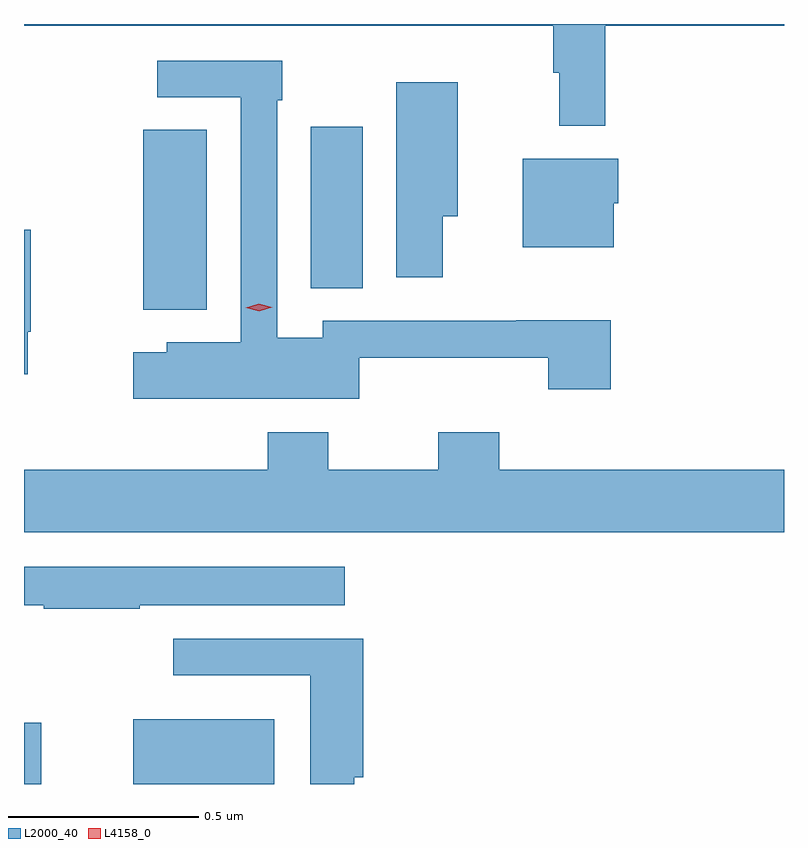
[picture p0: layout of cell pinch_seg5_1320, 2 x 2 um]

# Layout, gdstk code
import gdstk
lib = gdstk.Library(unit=1e-6, precision=1e-09)
def R(c, l, rs):  # rectangles x0, y0, x1, y1
    for r in rs: c.add(gdstk.rectangle(r[:2], r[2:], *l))
def P(c, l, *ps):  # polygons
    for p in ps: c.add(gdstk.Polygon(p, *l))
L2000_40 = (2000, 40)
L4158_0 = (4158, 0)

pinch_seg5_1320 = lib.new_cell('pinch_seg5_1320')
R(pinch_seg5_1320, L2000_40, [(441.438,850.769,441.484,850.93), (441.725,850.769,442.096,850.939), (441.752,852.017,441.919,852.491), (442.193,852.073,442.33,852.499)])
P(pinch_seg5_1320, L2000_40, [(442.967,852.764),(443.438,852.764),(443.438,852.769),(441.438,852.769),(441.438,852.764),(442.831,852.764),(442.831,852.641),(442.846,852.641),(442.846,852.501),(442.967,852.501)],
  [(442.32,851.891),(442.817,851.891),(442.817,851.808),(442.982,851.808),(442.982,851.99),(442.733,851.99),(442.733,851.988),(442.224,851.988),(442.224,851.944),(442.104,851.944),(442.104,852.569),(442.117,852.569),(442.117,852.672),(441.789,852.672),(441.789,852.576),(442.008,852.576),(442.008,851.932),(441.813,851.932),(441.813,851.905),(441.726,851.905),(441.726,851.783),(442.32,851.783)],
  [(442.54,852.263),(442.579,852.263),(442.579,852.616),(442.418,852.616),(442.418,852.102),(442.54,852.102)],
  [(442.99,852.297),(443.002,852.297),(443.002,852.415),(442.751,852.415),(442.751,852.182),(442.99,852.182)],
  [(441.448,851.959),(441.456,851.959),(441.456,852.228),(441.438,852.228),(441.438,851.847),(441.448,851.847)],
  [(443.438,851.596),(442.688,851.596),(442.688,851.695),(442.528,851.695),(442.528,851.596),(442.239,851.596),(442.239,851.695),(442.079,851.695),(442.079,851.596),(441.438,851.596),(441.438,851.432),(443.438,851.432)],
  [(441.743,851.24),(442.282,851.24),(442.282,851.341),(441.438,851.341),(441.438,851.24),(441.49,851.24),(441.49,851.23),(441.743,851.23)],
  [(442.307,850.787),(442.331,850.787),(442.331,851.151),(441.831,851.151),(441.831,851.055),(442.191,851.055),(442.191,850.769),(442.307,850.769)])
P(pinch_seg5_1320, L4158_0, [(442.057,852.013),(442.022,852.022),(442.021,852.022),(442.022,852.022),(442.056,852.033),(442.091,852.024),(442.091,852.024),(442.091,852.024)])

lib.write_gds('pinch_seg5_1320.gds')
